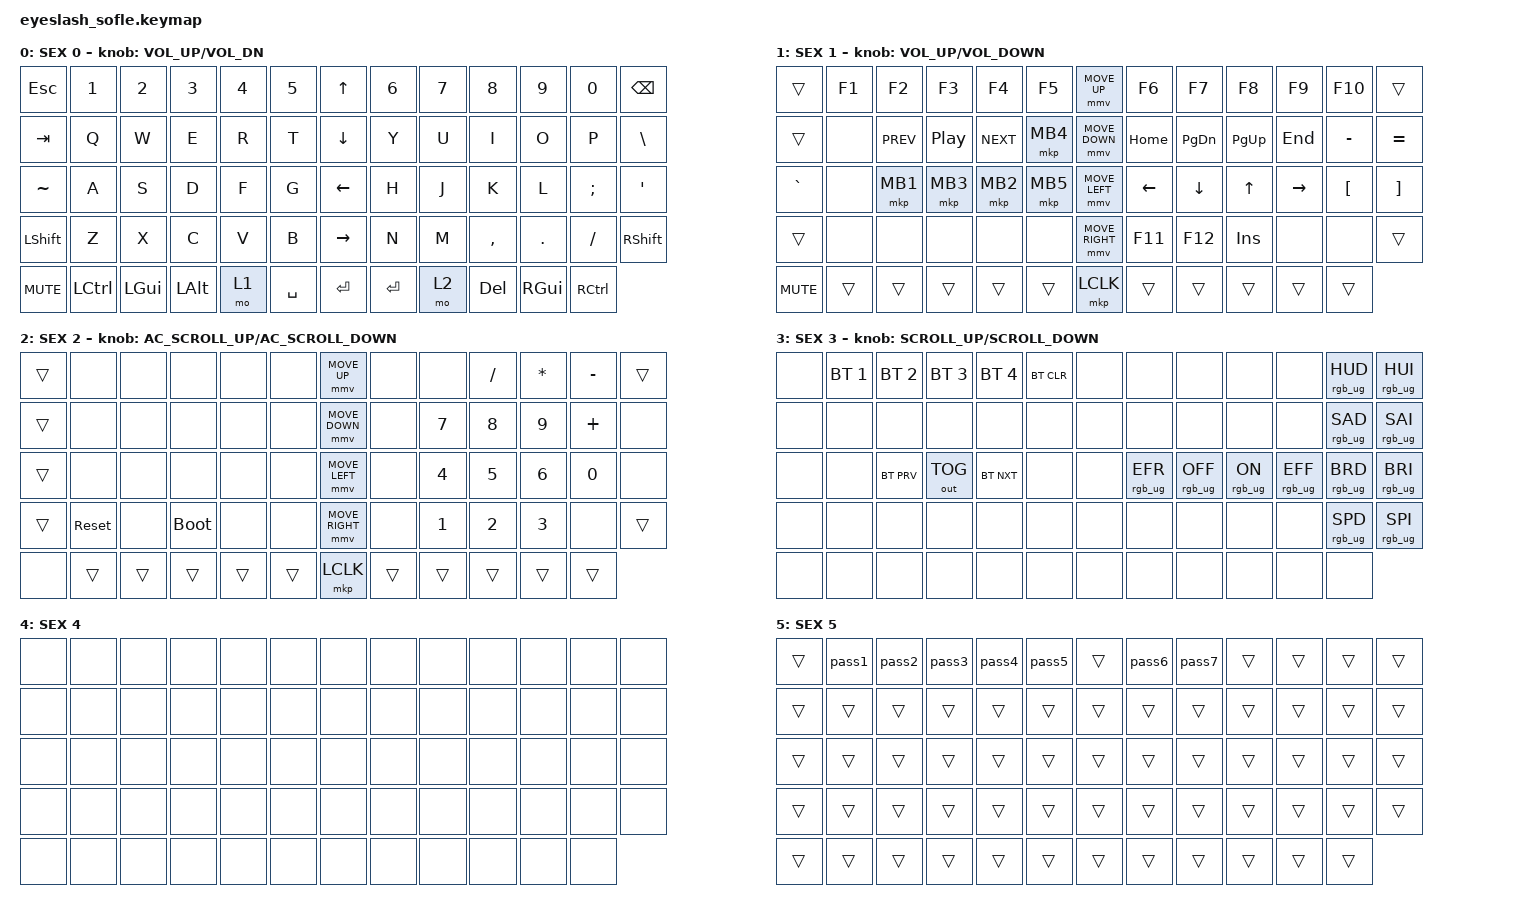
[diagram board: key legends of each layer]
#define ZMK_POINTING_DEFAULT_MOVE_VAL 1200  // 600
#define ZMK_POINTING_DEFAULT_SCRL_VAL 35    // 10

#include <input/processors.dtsi>
#include <zephyr/dt-bindings/input/input-event-codes.h>
#include <behaviors.dtsi>
#include <dt-bindings/zmk/bt.h>
#include <dt-bindings/zmk/keys.h>
#include <dt-bindings/zmk/outputs.h>
#include <dt-bindings/zmk/pointing.h>
#include <dt-bindings/zmk/rgb.h>

/ {
    zip_scroll_scaler: zip_scroll_scaler {
        compatible = "zmk,input-processor-scaler";
        #input-processor-cells = <2>;
        type = <INPUT_EV_REL>;
        codes = <INPUT_REL_WHEEL INPUT_REL_HWHEEL>;
        track-remainders;
    };
};

&mmv_input_listener { input-processors = <&zip_xy_scaler 2 1>; };

&msc_input_listener { input-processors = <&zip_scroll_scaler 2 1>; };

&msc {
    acceleration-exponent = <0>;      // 0
    time-to-max-speed-ms = <0>;       // 300
    delay-ms = <0>;                   // 0
};

&mmv {
    time-to-max-speed-ms = <400>;
    acceleration-exponent = <1>;
};

/ {
    scroll_encoder: scroll_encoder {
        compatible = "zmk,behavior-sensor-rotate";
        #sensor-binding-cells = <0>;
        bindings = <&msc SCRL_DOWN>, <&msc SCRL_UP>;

        tap-ms = <30>;
    };

    behaviors {
    };

    combos {
        compatible = "zmk,combos";

        Caps {
            bindings = <&kp CAPS>;
            key-positions = <39 13>;
        };

        I_love_big_black_cocks {
            bindings = <&mo 5>;
            key-positions = <40 17>;
            layers = <0>;
        };

        fourth_one {
            bindings = <&mo 4>;
            key-positions = <53 63>;
        };
    };

    macros {
        pass1: pass1 {
            compatible = "zmk,behavior-macro";
            #binding-cells = <0>;
            bindings = <&kp Q &kp Q &kp Q &kp Q &kp Q &kp Q &kp Q &kp Q &kp Q &kp Q &kp Q &kp Q &kp Q>;
            label = "PASS1";
        };

        pass2: pass2 {
            compatible = "zmk,behavior-macro";
            #binding-cells = <0>;
            bindings = <&kp Q &kp Q &kp Q &kp Q &kp Q &kp Q &kp Q &kp Q &kp Q &kp Q &kp Q &kp Q &kp Q>;
            label = "PASS2";
        };

        pass3: pass3 {
            compatible = "zmk,behavior-macro";
            #binding-cells = <0>;
            bindings = <&kp Q &kp Q &kp Q &kp Q &kp Q &kp Q &kp Q &kp Q &kp Q &kp Q &kp Q &kp Q &kp Q>;
            label = "PASS3";
        };

        pass4: pass4 {
            compatible = "zmk,behavior-macro";
            #binding-cells = <0>;
            bindings = <&kp Q &kp Q &kp Q &kp Q &kp Q &kp Q &kp Q &kp Q &kp Q &kp Q &kp Q &kp Q &kp Q>;
            label = "PASS4";
        };

        pass5: pass5 {
            compatible = "zmk,behavior-macro";
            #binding-cells = <0>;
            bindings = <&kp Q &kp Q &kp Q &kp Q &kp Q &kp Q &kp Q &kp Q &kp Q &kp Q &kp Q &kp Q &kp Q>;
            label = "PASS5";
        };

        pass6: pass6 {
            compatible = "zmk,behavior-macro";
            #binding-cells = <0>;
            bindings = <&kp Q &kp Q &kp Q &kp Q &kp Q &kp Q &kp Q &kp Q &kp Q &kp Q &kp Q &kp Q &kp Q>;
            label = "PASS6";
        };

        pass7: pass7 {
            compatible = "zmk,behavior-macro";
            #binding-cells = <0>;
            bindings = <&kp Q &kp Q &kp Q &kp Q &kp Q &kp Q &kp Q &kp Q &kp Q &kp Q &kp Q &kp Q &kp Q>;
            label = "PASS7";
        };
    };

    keymap {
        compatible = "zmk,keymap";

        SEX_0 {
            bindings = <
&kp ESC     &kp N1     &kp N2        &kp N3        &kp N4  &kp N5       &kp UP_ARROW     &kp N6      &kp N7  &kp N8      &kp N9         &kp N0             &kp BACKSPACE
&kp TAB     &kp Q      &kp W         &kp E         &kp R   &kp T        &kp DOWN_ARROW   &kp Y       &kp U   &kp I       &kp O          &kp P              &kp BSLH
&kp TILDE   &kp A      &kp S         &kp D         &kp F   &kp G        &kp LEFT_ARROW   &kp H       &kp J   &kp K       &kp L          &kp SEMI           &kp APOS
&kp LSHFT   &kp Z      &kp X         &kp C         &kp V   &kp B        &kp RIGHT_ARROW  &kp N       &kp M   &kp COMMA   &kp DOT        &kp FSLH           &kp RIGHT_SHIFT
&kp C_MUTE  &kp LCTRL  &kp LEFT_GUI  &kp LEFT_ALT  &mo 1   &kp SPACE    &kp ENTER        &kp RETURN  &mo 2   &kp DELETE  &kp RIGHT_GUI  &kp RIGHT_CONTROL
            >;

            sensor-bindings = <&inc_dec_kp C_VOLUME_UP C_VOL_DN>;
            display-name = "SEX 0";
        };

        SEX_1 {
            bindings = <
&trans      &kp F1  &kp F2      &kp F3            &kp F4      &kp F5      &mmv MOVE_UP     &kp F6          &kp F7         &kp F8        &kp F9     &kp F10           &trans
&trans      &none   &kp C_PREV  &kp C_PLAY_PAUSE  &kp C_NEXT  &mkp MB4    &mmv MOVE_DOWN   &kp HOME        &kp PAGE_DOWN  &kp PAGE_UP   &kp END    &kp MINUS         &kp EQUAL
&kp GRAVE   &none   &mkp MB1    &mkp MB3          &mkp MB2    &mkp MB5    &mmv MOVE_LEFT   &kp LEFT_ARROW  &kp DOWN       &kp UP_ARROW  &kp RIGHT  &kp LEFT_BRACKET  &kp RIGHT_BRACKET
&trans      &none   &none       &none             &none       &none       &mmv MOVE_RIGHT  &kp F11         &kp F12        &kp INS       &none      &none             &trans
&kp C_MUTE  &trans  &trans      &trans            &trans      &trans      &mkp LCLK        &trans          &trans         &trans        &trans     &trans
            >;

            display-name = "SEX 1";
            sensor-bindings = <&inc_dec_kp C_VOLUME_UP C_VOLUME_DOWN>;
        };

        SEX_2 {
            bindings = <
&trans  &none       &none   &none        &none   &none     &mmv MOVE_UP     &none   &none   &kp FSLH  &kp STAR  &kp MINUS  &trans
&trans  &none       &none   &none        &none   &none     &mmv MOVE_DOWN   &none   &kp N7  &kp N8    &kp N9    &kp PLUS   &none
&trans  &none       &none   &none        &none   &none     &mmv MOVE_LEFT   &none   &kp N4  &kp N5    &kp N6    &kp N0     &none
&trans  &sys_reset  &none   &bootloader  &none   &none     &mmv MOVE_RIGHT  &none   &kp N1  &kp N2    &kp N3    &none      &trans
&none   &trans      &trans  &trans       &trans  &trans    &mkp LCLK        &trans  &trans  &trans    &trans    &trans
            >;

            sensor-bindings = <&inc_dec_kp C_AC_SCROLL_UP C_AC_SCROLL_DOWN>;
            label = "SEX 2";
        };

        SEX_3 {
            bindings = <
&none  &bt BT_SEL 1  &bt BT_SEL 2  &bt BT_SEL 3  &bt BT_SEL 4  &bt BT_CLR    &none  &none            &none            &none           &none            &rgb_ug RGB_HUD  &rgb_ug RGB_HUI
&none  &none         &none         &none         &none         &none         &none  &none            &none            &none           &none            &rgb_ug RGB_SAD  &rgb_ug RGB_SAI
&none  &none         &bt BT_PRV    &out OUT_TOG  &bt BT_NXT    &none         &none  &rgb_ug RGB_EFR  &rgb_ug RGB_OFF  &rgb_ug RGB_ON  &rgb_ug RGB_EFF  &rgb_ug RGB_BRD  &rgb_ug RGB_BRI
&none  &none         &none         &none         &none         &none         &none  &none            &none            &none           &none            &rgb_ug RGB_SPD  &rgb_ug RGB_SPI
&none  &none         &none         &none         &none         &none         &none  &none            &none            &none           &none            &none
            >;

            sensor-bindings = <&inc_dec_kp K_SCROLL_UP K_SCROLL_DOWN>;
            label = "SEX 3";
        };

        SEX_4 {
            bindings = <
&none  &none  &none  &none  &none  &none    &none  &none  &none  &none  &none  &none  &none
&none  &none  &none  &none  &none  &none    &none  &none  &none  &none  &none  &none  &none
&none  &none  &none  &none  &none  &none    &none  &none  &none  &none  &none  &none  &none
&none  &none  &none  &none  &none  &none    &none  &none  &none  &none  &none  &none  &none
&none  &none  &none  &none  &none  &none    &none  &none  &none  &none  &none  &none
            >;

            label = "SEX 4";
        };

        SEX_5 {
            bindings = <
&trans  &pass1  &pass2  &pass3  &pass4  &pass5    &trans  &pass6  &pass7  &trans  &trans  &trans  &trans
&trans  &trans  &trans  &trans  &trans  &trans    &trans  &trans  &trans  &trans  &trans  &trans  &trans
&trans  &trans  &trans  &trans  &trans  &trans    &trans  &trans  &trans  &trans  &trans  &trans  &trans
&trans  &trans  &trans  &trans  &trans  &trans    &trans  &trans  &trans  &trans  &trans  &trans  &trans
&trans  &trans  &trans  &trans  &trans  &trans    &trans  &trans  &trans  &trans  &trans  &trans
            >;

            label = "SEX 5";
        };
    };

    conditional_layers {
        compatible = "zmk,conditional-layers";

        Third_one {
            if-layers = <1 2>;
            then-layer = <3>;
        };
    };
};
